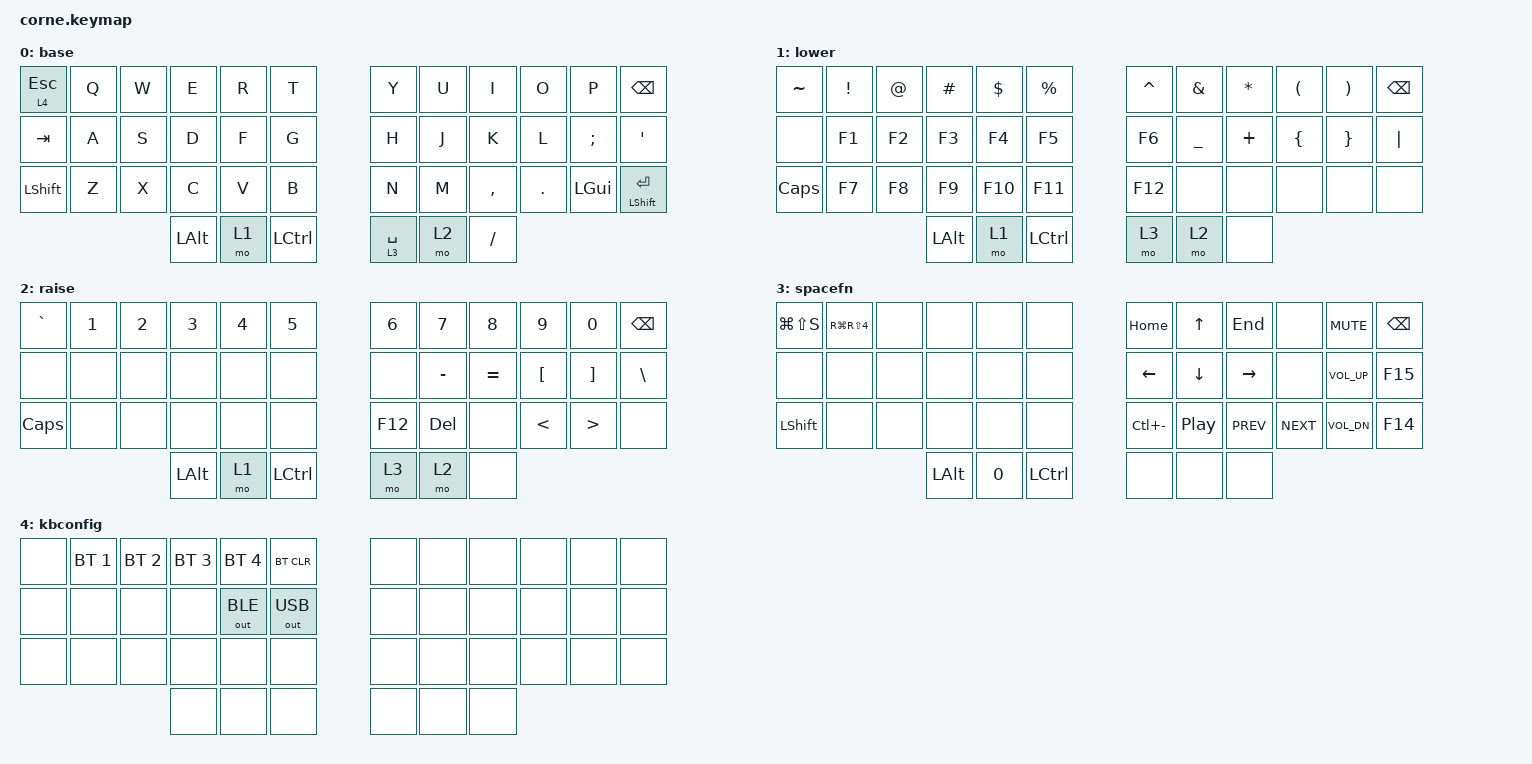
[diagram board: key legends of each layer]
/*
 * Copyright (c) 2020 The ZMK Contributors
 *
 * SPDX-License-Identifier: MIT
 */

#include <behaviors.dtsi>
#include <dt-bindings/zmk/bt.h>
#include <dt-bindings/zmk/keys.h>
#include <dt-bindings/zmk/outputs.h>

/* BASE
        
         ,-----------------------------------------+            +-----------------------------------------.
         |EscCfg|   Q  |   W  |   E  |   R  |   T  |            |   Y  |   U  |   I  |   O  |   P  | Bksp |
         |------+------+------+------+------+------+            +------+------+------+------+------+------|
         | Tab  |   A  |   S  |   D  |   F  |   G  |            |   H  |   J  |   K  |   L  |   ;  |  '   |
         |------+------+------+------+------+------+            +------+------+------+------+------+------|
         | LShft|   Z  |   X  |   C  |   V  |   B  |            |   N  |   M  |   ,  |   .  | LGUI |SftEnt|
         '------+------+------+------+------+------+            +------+------+------+------+------+------'
                              | LAlt | Lower| Ctrl |            | SpcFn| Raise|   /  |
                              '--------------------'            '--------------------'*/

/* LOWER
         ,-----------------------------------------+            +-----------------------------------------.
         |   ~  |   !  |   @  |   #  |   $  |   %  |            |   ^  |   &  |   *  |   (  |   )  | Bksp |
         |------+------+------+------+------+------+            +------+------+------+------+------+------|
         | Del  |  F1  |  F2  |  F3  |  F4  |  F5  |            |  F6  |   _  |   +  |   {  |   }  |  |   |
         |------+------+------+------+------+------+            +------+------+------+------+------+------|
         | Caps |  F7  |  F8  |  F9  |  F10 |  F11 |            |  F12 |      |      |      |      |      |
         '------+------+------+------+------+------+            +------+------+------+------+------+------'
                              | LAlt | XXXX | Ctrl |            |SPC_FN| Raise|      |
                              '--------------------'            '--------------------'*/
/* RAISE
         ,-----------------------------------------+            +-----------------------------------------.
         |   `  |   1  |   2  |   3  |   4  |   5  |            |   6  |   7  |   8  |   9  |   0  | Bksp |
         |------+------+------+------+------+------+            +------+------+------+------+------+------|
         |      |      |      |      |      |      |            |      |   _  |   +  |   [  |   ]  |  \   |
         |------+------+------+------+------+------+            +------+------+------+------+------+------|
         | Caps |      |      |      |      |      |            |  F12 | Del  |      |  <   |  >   |      |
         '------+------+------+------+------+------+            +------+------+------+------+------+------'
                              | LAlt | Lower| Ctrl |            |SPC_FN| XXXX |      |
                              '--------------------'            '--------------------'*/
/* SPCFN
         ,-----------------------------------------+            +-----------------------------------------.
         |PRTSCW|PRTSCM|      |      |      |      |            | Home |  UP  | End  |      | Mute | Bksp |
         |------+------+------+------+------+------+            +------+------+------+------+------+------|
         |      |      |      |      |      |      |            | LEFT | DOWN |RIGHT |      | Vol+ |  F15 |
         |------+------+------+------+------+------+            +------+------+------+------+------+------|
         |LShift|      |      |      |      |      |            |VSPREV| Play | Prev | Next | Vol- |  F14 |
         '------+------+------+------+------+------+            +------+------+------+------+------+------'
                              | LAlt |      |LCtrl |            | XXXX |      |      |
                              '--------------------'            '--------------------'*/
/* KBCFG
         ,-----------------------------------------+            +-----------------------------------------.
         | XXXX |BTSEL1|BTSEL2|BTSEL3|BTSEL4|BT_CLR|            |      |      |      |      |      |      |
         |------+------+------+------+------+------+            +------+------+------+------+------+------|
         |      |      |      |      |OUTBLE|OUTUSB|            |      |      |      |      |      |      |
         |------+------+------+------+------+------+            +------+------+------+------+------+------|
         |      |      |      |      |      |      |            |      |      |      |      |      |      |
         '------+------+------+------+------+------+            +------+------+------+------+------+------'
                              |      |      |      |            |      |      |      |
                              '--------------------'            '--------------------'*/

/ {
    keymap {
        compatible = "zmk,keymap";

        base {
            bindings = <
&lt 4 ESC   &kp Q  &kp W  &kp E     &kp R  &kp T        &kp Y        &kp U  &kp I      &kp O    &kp P     &kp BSPC
&kp TAB     &kp A  &kp S  &kp D     &kp F  &kp G        &kp H        &kp J  &kp K      &kp L    &kp SEMI  &kp SQT
&kp LSHIFT  &kp Z  &kp X  &kp C     &kp V  &kp B        &kp N        &kp M  &kp COMMA  &kp DOT  &kp LGUI  &mt LSHIFT RET
                          &kp LALT  &mo 1  &kp LCTRL    &lt 3 SPACE  &mo 2  &kp FSLH
            >;
        };

        lower {
            bindings = <
&kp TILDE  &kp EXCL  &kp AT  &kp HASH  &kp DLLR  &kp PRCNT    &kp CARET  &kp AMPS   &kp STAR  &kp LPAR  &kp RPAR  &kp BSPC
&none      &kp F1    &kp F2  &kp F3    &kp F4    &kp F5       &kp F6     &kp UNDER  &kp PLUS  &kp LBRC  &kp RBRC  &kp PIPE
&kp CAPS   &kp F7    &kp F8  &kp F9    &kp F10   &kp F11      &kp F12    &none      &none     &none     &none     &none
                             &kp LALT  &mo 1     &kp LCTRL    &mo 3      &mo 2      &none
            >;
        };

        raise {
            bindings = <
&kp GRAVE  &kp N1  &kp N2  &kp N3    &kp N4  &kp N5       &kp N6   &kp N7      &kp N8     &kp N9    &kp N0    &kp BSPC
&none      &none   &none   &none     &none   &none        &none    &kp MINUS   &kp EQUAL  &kp LBKT  &kp RBKT  &kp BSLH
&kp CAPS   &none   &none   &none     &none   &none        &kp F12  &kp DELETE  &none      &kp LT    &kp GT    &none
                           &kp LALT  &mo 1   &kp LCTRL    &mo 3    &mo 2       &none
            >;
        };

        spacefn {
            bindings = <
&kp LG(LS(S))  &kp RG(RS(NUMBER_4))  &none  &none     &none   &none        &kp HOME       &kp UP            &kp END     &none       &kp C_MUTE    &kp BSPC
&none          &none                 &none  &none     &none   &none        &kp LEFT       &kp DOWN          &kp RIGHT   &none       &kp C_VOL_UP  &kp F15
&kp LSHFT      &none                 &none  &none     &none   &none        &kp LC(MINUS)  &kp C_PLAY_PAUSE  &kp C_PREV  &kp C_NEXT  &kp C_VOL_DN  &kp F14
                                            &kp LALT  &kp N0  &kp LCTRL    &none          &none             &none
            >;
        };

        kbconfig {
            bindings = <
&none  &bt BT_SEL 1  &bt BT_SEL 2  &bt BT_SEL 3  &bt BT_SEL 4  &bt BT_CLR      &none  &none  &none  &none  &none  &none
&none  &none         &none         &none         &out OUT_BLE  &out OUT_USB    &none  &none  &none  &none  &none  &none
&none  &none         &none         &none         &none         &none           &none  &none  &none  &none  &none  &none
                                   &none         &none         &none           &none  &none  &none
            >;
        };
    };
};
